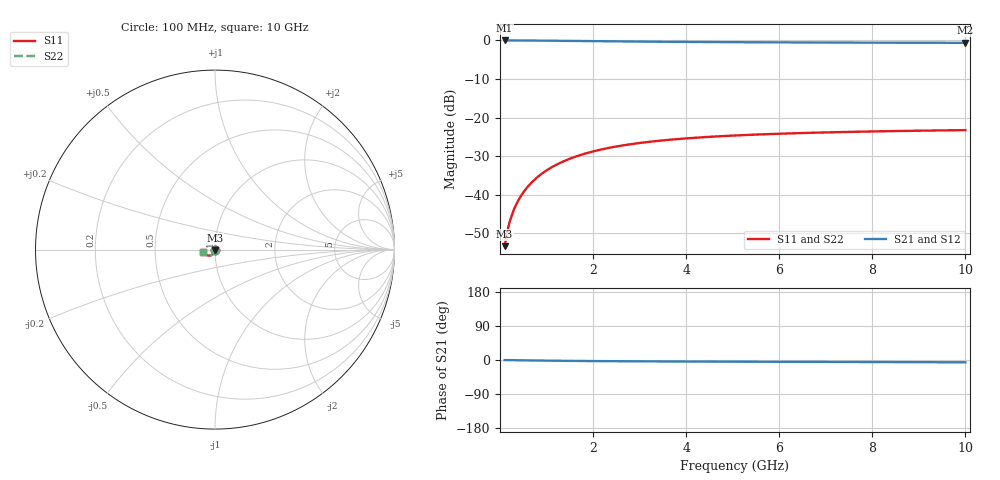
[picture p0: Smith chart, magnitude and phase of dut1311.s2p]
! Touchstone file exported from HFSS 2024.1.0
!  File:  C:/UserFiles/LocalFiles/RDL_TSV_Batchsim/temp_TSV1_1311_1780373417.aedt
!  Generated:  12:16:05 PM Jun  2, 2026
!  Design:  TSV1
!  Project:  temp_TSV1_1311_1780373417
!  Setup:  Setup1
!  Solution:  Sweep
! Variables:
!  dtsv = 14.61um
!  hbump = 3um
!  htsv = 94.63um
!  lrdl = 252.1521522um
!  p = 40
!  p1 = 55.69um
!  t = 500um
!  trdl = 3um
!  wrdl = 24.89489489um
# GHz S MA R 50.000000
! Terminal data exported
! Port[1] = TSV22_T1
! Port[2] = TSV22_T2
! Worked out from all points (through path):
!   100 points, 100 MHz to 10 GHz, reference 50 ohm
!   highest |S21| = 0.00 dB at 100 MHz (marker M1); lowest = -0.6 dB at 10 GHz (marker M2)
!   lowest |S11| = -53.3 dB at 100 MHz (marker M3), VSWR 1.00, Z = 50 - j0.217 ohm
!   |S11| at or under -10 dB: start of sweep to end of sweep
!   |S22| runs from -53.3 to -23.2 dB; largest |S21 - S12| = 2.1e-15
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0.1  0.002165 -89.6  0.9998 -0.2  0.9998 -0.2  0.002165 -89.6
! Gamma 0 0 0 0
! Port Impedance 50 0 50 0
0.2  0.004329 -92.5  0.9996 -0.4  0.9996 -0.4  0.004329 -92.5
0.3  0.006488 -94.7  0.9992 -0.5  0.9992 -0.5  0.006488 -94.7
0.4  0.00863 -96.8  0.9987 -0.7  0.9987 -0.7  0.00863 -96.8
0.5  0.01075 -98.8  0.9981 -0.9  0.9981 -0.9  0.01075 -98.8
0.6  0.01283 -100.8  0.9973 -1.0  0.9973 -1.0  0.01283 -100.8
0.7  0.01488 -102.7  0.9965 -1.2  0.9965 -1.2  0.01488 -102.7
0.8  0.01688 -104.5  0.9955 -1.4  0.9955 -1.4  0.01688 -104.5
0.9  0.01883 -106.4  0.9945 -1.5  0.9945 -1.5  0.01883 -106.4
1.1  0.02257 -109.9  0.9922 -1.8  0.9922 -1.8  0.02257 -109.9
1.4  0.02775 -114.8  0.9883 -2.2  0.9883 -2.2  0.02775 -114.8
1.6  0.03091 -117.9  0.9856 -2.4  0.9856 -2.4  0.03091 -117.9
1.8  0.03382 -120.8  0.9828 -2.6  0.9828 -2.6  0.03382 -120.8
2.1  0.03777 -124.9  0.9787 -2.9  0.9787 -2.9  0.03777 -124.9
2.5  0.04231 -129.7  0.9734 -3.2  0.9734 -3.2  0.04231 -129.7
2.9  0.04612 -134.0  0.9684 -3.5  0.9684 -3.5  0.04612 -134.0
3.4  0.05007 -138.7  0.963 -3.7  0.963 -3.7  0.05007 -138.7
4.2  0.05493 -144.9  0.9557 -4.1  0.9557 -4.1  0.05493 -144.9
5.1  0.05894 -150.5  0.9493 -4.4  0.9493 -4.4  0.05894 -150.5
6.7  0.06372 -158.2  0.9412 -5.0  0.9412 -5.0  0.06372 -158.2
8.4  0.06692 -164.4  0.9356 -5.5  0.9356 -5.5  0.06692 -164.4
10  0.06896 -169.1  0.932 -6.1  0.932 -6.1  0.06896 -169.1
